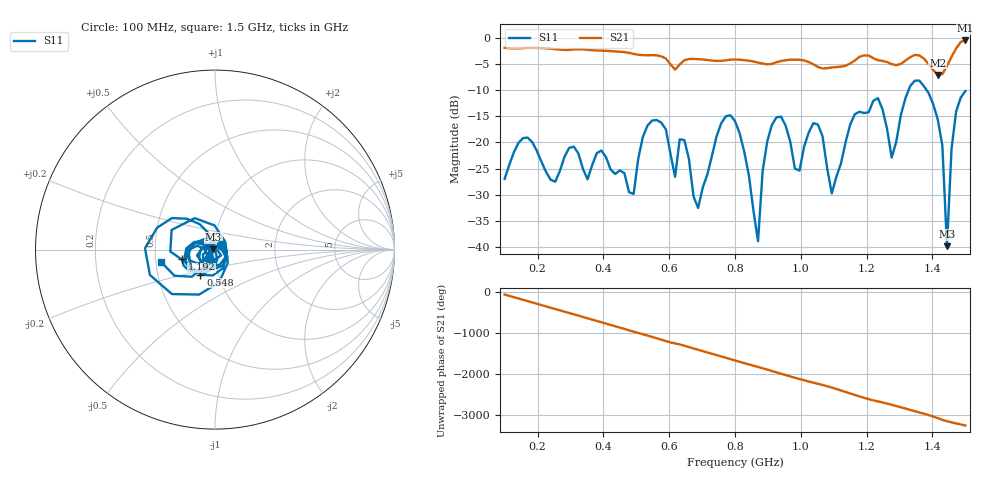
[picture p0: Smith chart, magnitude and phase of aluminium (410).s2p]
! NanoVNA-App
! Date: 2025-09-25 14:58:28
! Start: 100MHz Stop: 1,5GHz Points: 101
! S-Parameter data: F S11 S21 S12 S22
# Hz S RI R 50
!  Frequency  S11_Real  S11_Imag  S21_Real  S21_Imag  S12_Real  S12_Imag  S22_Real  S22_Imag
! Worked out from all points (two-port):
!   101 points, 100 MHz to 1.5 GHz, reference 50 ohm
!   highest |S21| = -0.51 dB at 1.5 GHz (marker M1); lowest = -7.1 dB at 1.416 GHz (marker M2)
!   |S21| within 3 dB of the highest: start of sweep to 573.4 MHz; 1.459 GHz to end of sweep (the widest 2 of 4)
!   lowest |S11| = -39.8 dB at 1.444 GHz (marker M3), VSWR 1.02, Z = 49 + j0.254 ohm
!   |S11| at or under -10 dB: start of sweep to 1.327 GHz; 1.382 GHz to end of sweep
!   S12 and S22 are empty: the file has one direction only
!   S11 on the Smith chart (normalised r, x): 100 MHz: 1.07, +0.06; 548 MHz: 0.82, -0.23; 1.192 GHz: 0.69, -0.08; 1.5 GHz: 0.53, -0.08
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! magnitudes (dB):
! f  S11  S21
! 100 MHz  -27.0  -1.9
! 156 MHz  -19.2  -2.0
! 338 MHz  -25.0  -2.2
! 492 MHz  -29.9  -3.1
! 548 MHz  -15.8  -3.3
! 576 MHz  -16.2  -3.5
! 688 MHz  -32.5  -4.1
! 800 MHz  -15.9  -4.1
! 870 MHz  -38.9  -4.7
! 912 MHz  -16.7  -5.0
! 996 MHz  -25.4  -4.2
! 1.038 GHz  -16.3  -5.1
! 1.094 GHz  -29.8  -5.7
! 1.192 GHz  -14.4  -3.4
! 1.234 GHz  -11.5  -4.3
! 1.276 GHz  -22.9  -5.0
! 1.346 GHz  -8.2  -3.3
! 1.416 GHz  -15.6  -7.1
! 1.43 GHz  -20.6  -6.9
! 1.444 GHz  -39.8  -5.4
! 1.458 GHz  -21.1  -3.6
! 1.5 GHz  -10.2  -0.5
